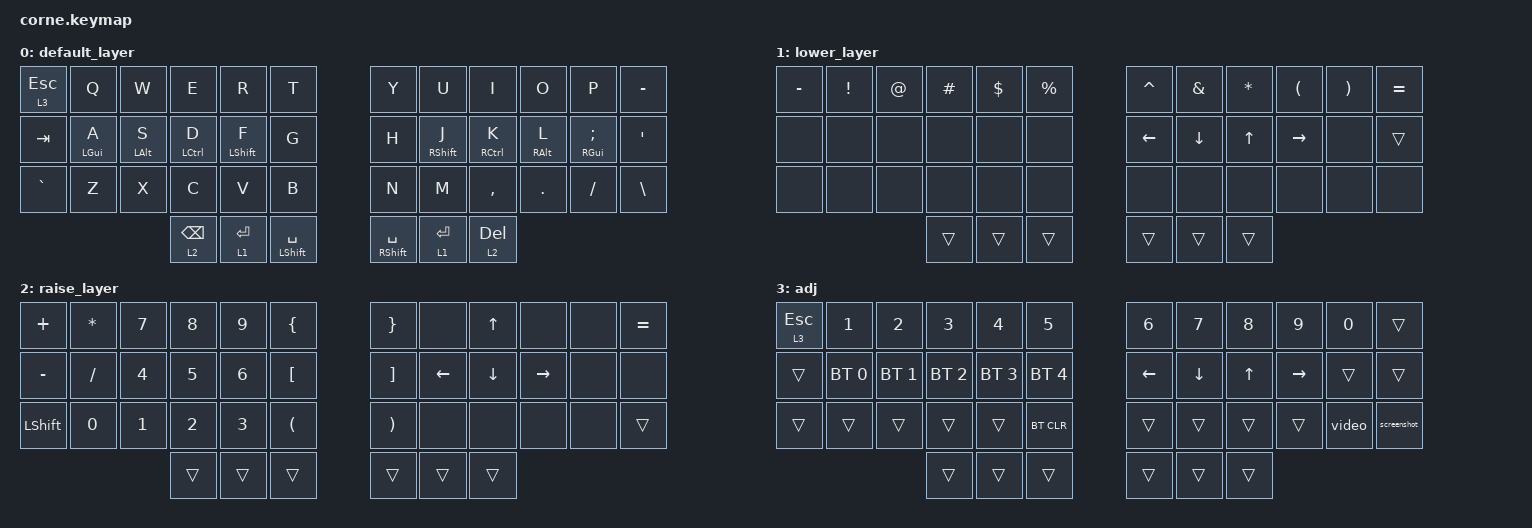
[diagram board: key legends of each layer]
/*
 * Copyright (c) 2020 The ZMK Contributors
 *
 * SPDX-License-Identifier: MIT
 */

#include <behaviors.dtsi>
#include <dt-bindings/zmk/bt.h>
#include <dt-bindings/zmk/keys.h>

&lt { quick-tap-ms = <200>; };

/ {
    behaviors {
        hm: homerow_mods {
            compatible = "zmk,behavior-hold-tap";
            label = "homerow_mods";
            bindings = <&kp>, <&kp>;

            #binding-cells = <2>;
            tapping-term-ms = <200>;
            quick-tap-ms = <200>;
            flavor = "balanced";
        };
    };

    combos {
        compatible = "zmk,combos";

        escape {
            bindings = <&kp ESCAPE>;
            key-positions = <1 2>;
        };

        semi {
            bindings = <&kp SEMICOLON>;
            key-positions = <33 32>;
        };

        hyper {
            bindings = <&kp RC(RS(RA(RGUI)))>;
            key-positions = <39 40 41>;
        };
    };

    macros {
        screenshot: screenshot {
            compatible = "zmk,behavior-macro";
            #binding-cells = <0>;
            bindings =
                <&macro_press>,
                <&kp LGUI &kp LCTRL &kp LSHFT>,
                <&macro_tap>,
                <&kp NUMBER_4>,
                <&macro_release>,
                <&kp LGUI &kp LCTRL &kp LSHFT>;

            label = "SCREENSHOT";
        };

        video: video {
            compatible = "zmk,behavior-macro";
            #binding-cells = <0>;
            bindings =
                <&macro_press>,
                <&kp LGUI &kp LSHFT>,
                <&macro_tap>,
                <&kp N5>,
                <&macro_release>,
                <&kp LGUI &kp LSHFT>;

            label = "VIDEO";
        };
    };

    keymap {
        compatible = "zmk,keymap";

        default_layer {
            // -----------------------------------------------------------------------------------------
            // |  TAB |  Q  |  W  |  E  |  R  |  T  |   |  Y  |  U   |  I  |  O  |  P  | BSPC |
            // | CTRL |  A  |  S  |  D  |  F  |  G  |   |  H  |  J   |  K  |  L  |  ;  |  '   |
            // | SHFT |  Z  |  X  |  C  |  V  |  B  |   |  N  |  M   |  ,  |  .  |  /  | ESC  |
            //                    | GUI | LWR | SPC |   | ENT | RSE  | ALT |

            bindings = <
&lt 3 ESCAPE  &kp Q           &kp W           &kp E            &kp R             &kp T              &kp Y            &kp U        &kp I         &kp O       &kp P          &kp MINUS
&kp TAB       &hm LEFT_GUI A  &hm LEFT_ALT S  &hm LCTRL D      &hm LEFT_SHIFT F  &kp G              &kp H            &hm RSHFT J  &hm RCTRL K   &hm RALT L  &hm RGUI SEMI  &kp SQT
&kp GRAVE     &kp Z           &kp X           &kp C            &kp V             &kp B              &kp N            &kp M        &kp COMMA     &kp DOT     &kp FSLH       &kp BSLH
                                              &lt 2 BACKSPACE  &lt 1 ENTER       &mt LSHFT SPACE    &mt RSHFT SPACE  &lt 1 ENTER  &lt 2 DELETE
            >;
        };

        lower_layer {
            // -----------------------------------------------------------------------------------------
            // |  TAB |  1  |  2  |  3  |  4  |  5  |   |  6  |  7  |  8  |  9  |  0  | BSPC |
            // | BTCLR| BT1 | BT2 | BT3 | BT4 | BT5 |   | LFT | DWN |  UP | RGT |     |      |
            // | SHFT |     |     |     |     |     |   |     |     |     |     |     |      |
            //                    | GUI |     | SPC |   | ENT |     | ALT |

            bindings = <
&kp MINUS  &kp EXCL  &kp AT_SIGN  &kp HASH  &kp DOLLAR  &kp PERCENT    &kp CARET  &kp AMPERSAND  &kp ASTERISK  &kp LEFT_PARENTHESIS  &kp RIGHT_PARENTHESIS  &kp EQUAL
&none      &none     &none        &none     &none       &none          &kp LEFT   &kp DOWN       &kp UP        &kp RIGHT             &none                  &trans
&none      &none     &none        &none     &none       &none          &none      &none          &none         &none                 &none                  &none
                                  &trans    &trans      &trans         &trans     &trans         &trans
            >;
        };

        raise_layer {
            // -----------------------------------------------------------------------------------------
            // |  TAB |  !  |  @  |  #  |  $  |  %  |   |  ^  |  &  |  *  |  (  |  )  | BSPC |
            // | CTRL |     |     |     |     |     |   |  -  |  =  |  [  |  ]  |  \  |  `   |
            // | SHFT |     |     |     |     |     |   |  _  |  +  |  {  |  }  | "|" |  ~   |
            //                    | GUI |     | SPC |   | ENT |     | ALT |

            bindings = <
&kp PLUS   &kp STAR      &kp NUMBER_7  &kp NUMBER_8  &kp NUMBER_9  &kp LEFT_BRACE          &kp RIGHT_BRACE        &none     &kp UP    &none      &none  &kp EQUAL
&kp MINUS  &kp SLASH     &kp NUMBER_4  &kp NUMBER_5  &kp NUMBER_6  &kp LEFT_BRACKET        &kp RIGHT_BRACKET      &kp LEFT  &kp DOWN  &kp RIGHT  &none  &none
&kp LSHFT  &kp NUMBER_0  &kp NUMBER_1  &kp NUMBER_2  &kp NUMBER_3  &kp LEFT_PARENTHESIS    &kp RIGHT_PARENTHESIS  &none     &none     &none      &none  &trans
                                       &trans        &trans        &trans                  &trans                 &trans    &trans
            >;
        };

        adj {
            bindings = <
&lt 3 ESCAPE  &kp N1        &kp N2        &kp N3        &kp N4        &kp N5          &kp N6    &kp N7    &kp N8  &kp N9     &kp N0  &trans
&trans        &bt BT_SEL 0  &bt BT_SEL 1  &bt BT_SEL 2  &bt BT_SEL 3  &bt BT_SEL 4    &kp LEFT  &kp DOWN  &kp UP  &kp RIGHT  &trans  &trans
&trans        &trans        &trans        &trans        &trans        &bt BT_CLR      &trans    &trans    &trans  &trans     &video  &screenshot
                                          &trans        &trans        &trans          &trans    &trans    &trans
            >;
        };
    };
};
